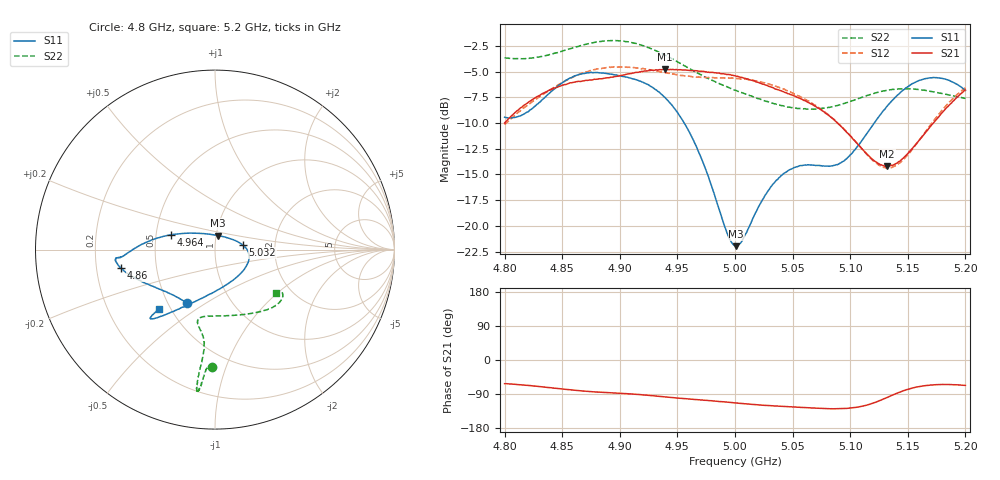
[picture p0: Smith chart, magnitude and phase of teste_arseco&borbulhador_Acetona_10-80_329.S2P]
! Network Analyzer HP8722D
! Hewlett-Packard
! Data name: Linha & Wilkinson
! Saver's name: Rodrigo Anjos
! Comments: Teste da utilização de aquisição
! continua pelo VNA HP8722D
! Time and date: 17/4/2025 17:06
!  Frequency  S11  S21  S12  S22
# HZ  S  MA R 50
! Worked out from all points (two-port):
!   401 points, 4.8 GHz to 5.2 GHz, reference 50 ohm
!   highest |S21| = -4.77 dB at 4.939 GHz (marker M1); lowest = -14.2 dB at 5.132 GHz (marker M2)
!   |S21| within 3 dB of the highest: 4.823 GHz to 5.059 GHz (236.2 MHz wide, 4.78 % of centre); 5.190272 GHz to end of sweep
!   lowest |S11| = -22.0 dB at 5.001 GHz (marker M3), VSWR 1.17, Z = 50.9 + j8.01 ohm
!   |S11| at or under -10 dB: 4.956 GHz to 5.121 GHz (164.9 MHz wide, 3.27 % of centre)
!   |S22| runs from -8.7 to -2.0 dB; largest |S21 - S12| = 0.87
!   S11 on the Smith chart (normalised r, x): 4.8 GHz: 0.62, -0.42; 4.86 GHz: 0.31, -0.09; 4.964 GHz: 0.60, +0.10; 5.032 GHz: 1.36, +0.07; 5.2 GHz: 0.43, -0.36
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4.8e9  0.3377 -117.3  0.3164 -62.6  0.3112 -176.8  0.6562 -91.4
4.818e9  0.3533 -136.6  0.3899 -66.6  0.3797 -176.4  0.6506 -93.1
4.86e9  0.5346 -168.8  0.4993 -79.6  0.5315 -179.8  0.7356 -95.6
4.867e9  0.5484 -171.5  0.5056 -81.8  0.5522 178.9  0.7556 -95.9
4.9e9  0.5378 -175.2  0.5368 -87.9  0.593 172.8  0.7941 -97.4
4.934e9  0.4484 179.1  0.5753 -96.0  0.5642 169.7  0.7002 -97.3
4.939e9  0.4224 177.1  0.5774 -97.2  0.5583 169.9  0.6782 -97.2
4.964e9  0.2605 161.7  0.5692 -103.9  0.5309 171.7  0.5671 -96.3
4.993e9  0.09266 111.8  0.5447 -111.3  0.5241 174.0  0.4753 -98.7
5e9  0.08042 83.5  0.5373 -113.3  0.5222 173.9  0.4573 -100.1
5.001e9  0.07964 79.2  0.5347 -113.2  0.5216 174.0  0.4556 -100.3
5.007e9  0.08635 55.7  0.5249 -114.9  0.5184 174.0  0.4425 -101.6
5.032e9  0.1569 9.3  0.4716 -120.7  0.4853 172.7  0.3964 -103.2
5.048e9  0.1881 -5.7  0.4356 -123.4  0.4492 172.2  0.3774 -98.8
5.067e9  0.1977 -25.9  0.39 -126.5  0.3946 172.0  0.3693 -88.1
5.095e9  0.2076 -74.3  0.2928 -128.1  0.2942 174.6  0.3941 -66.4
5.119e9  0.3064 -110.4  0.2113 -114.6  0.2097 -170.0  0.4382 -50.5
5.132e9  0.3822 -120.8  0.1949 -98.9  0.1917 -152.4  0.4554 -44.1
5.134e9  0.3932 -122.0  0.1954 -96.1  0.1915 -149.3  0.4585 -43.4
5.148e9  0.4676 -128.1  0.2192 -79.3  0.2153 -129.6  0.4646 -38.2
5.168e9  0.5237 -132.5  0.297 -66.9  0.3011 -113.3  0.452 -33.5
5.2e9  0.4558 -133.4  0.4584 -67.2  0.4693 -109.3  0.4169 -35.0
